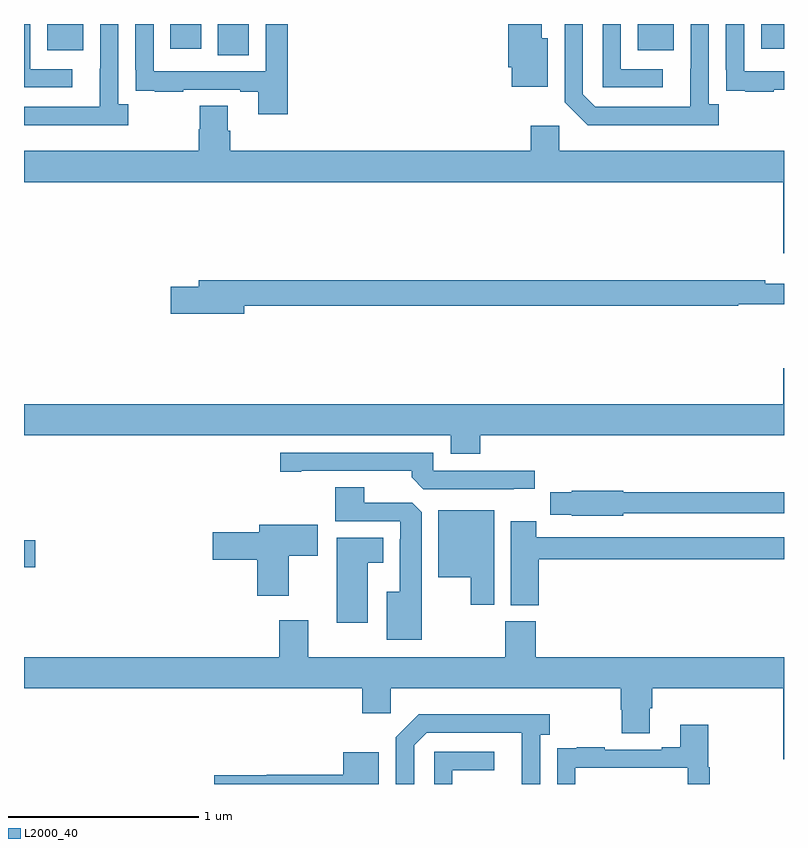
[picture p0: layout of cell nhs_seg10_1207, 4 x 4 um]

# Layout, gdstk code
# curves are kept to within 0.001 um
import gdstk
lib = gdstk.Library(unit=1e-6, precision=1e-09)
def R(c, l, rs):  # rectangles x0, y0, x1, y1
    for r in rs: c.add(gdstk.rectangle(r[:2], r[2:], *l))
def P(c, l, *ps):  # polygons
    for p in ps: c.add(gdstk.Polygon(p, *l))
L2000_40 = (2000, 40)

nhs_seg10_1207 = lib.new_cell('nhs_seg10_1207')
R(nhs_seg10_1207, L2000_40, [(173,1279.642,173.059,1279.784), (174.02,1282.336,174.184,1282.5), (173.123,1282.361,173.311,1282.5), (176.231,1282.361,176.419,1282.5), (173.771,1282.371,173.932,1282.5), (176.879,1282.371,177,1282.5)])
P(nhs_seg10_1207, L2000_40, [(173.548,1282.078),(173.496,1282.078),(173.496,1282.5),(173.4,1282.5),(173.4,1282.265),(173.399,1282.265),(173.399,1282.065),(173,1282.065),(173,1281.968),(173.548,1281.968)],
  [(176.362,1282.263),(176.142,1282.263),(176.142,1282.5),(176.046,1282.5),(176.046,1282.167),(176.362,1282.167)],
  [(176.945,1282.155),(177,1282.155),(177,1282.251),(176.79,1282.251),(176.79,1282.5),(176.694,1282.5),(176.694,1282.258),(176.695,1282.258),(176.695,1282.149),(176.797,1282.149),(176.797,1282.143),(176.945,1282.143)],
  [(176.656,1282.078),(176.604,1282.078),(176.604,1282.5),(176.508,1282.5),(176.507,1282.065),(176.007,1282.065),(175.941,1282.131),(175.941,1282.5),(175.845,1282.5),(175.845,1282.089),(175.966,1281.968),(176.656,1281.968)],
  [(174.389,1282.5),(174.273,1282.5),(174.273,1282.251),(173.682,1282.251),(173.682,1282.5),(173.586,1282.5),(173.586,1282.258),(173.587,1282.258),(173.587,1282.149),(173.689,1282.149),(173.689,1282.143),(173.837,1282.143),(173.837,1282.155),(174.137,1282.155),(174.137,1282.143),(174.233,1282.143),(174.233,1282.026),(174.389,1282.026)],
  [(173.254,1282.263),(173.034,1282.263),(173.034,1282.5),(173,1282.5),(173,1282.167),(173.254,1282.167)],
  [(175.756,1282.426),(175.726,1282.426),(175.726,1282.5),(175.549,1282.5),(175.549,1282.273),(175.568,1282.273),(175.568,1282.169),(175.756,1282.169)],
  [(177,1281.832),(175.818,1281.832),(175.818,1281.964),(175.667,1281.964),(175.667,1281.832),(174.086,1281.832),(174.086,1281.938),(174.073,1281.938),(174.073,1282.07),(173.926,1282.07),(173.926,1281.945),(173.921,1281.945),(173.921,1281.832),(173,1281.832),(173,1281.668),(176.996,1281.668),(176.996,1281.294),(177,1281.294)],
  [(174.16,1281.016),(176.758,1281.016),(176.758,1281.024),(177,1281.024),(177,1281.133),(176.9,1281.133),(176.9,1281.152),(173.921,1281.152),(173.921,1281.116),(173.772,1281.116),(173.772,1280.974),(174.16,1280.974)],
  [(175.4,1280.336),(177,1280.336),(177,1280.689),(176.996,1280.689),(176.996,1280.5),(173,1280.5),(173,1280.336),(175.247,1280.336),(175.247,1280.237),(175.4,1280.237)],
  [(175.577,1280.053),(175.688,1280.053),(175.688,1280.148),(175.155,1280.148),(175.155,1280.244),(174.348,1280.244),(174.348,1280.143),(174.46,1280.143),(174.46,1280.148),(175.04,1280.148),(175.04,1280.114),(175.101,1280.052),(175.577,1280.051)],
  [(175.093,1279.931),(175.044,1279.98),(174.79,1279.98),(174.79,1280.063),(174.638,1280.063),(174.638,1279.884),(174.981,1279.884),(174.981,1279.787),(174.977,1279.787),(174.977,1279.513),(174.908,1279.513),(174.908,1279.259),(175.093,1279.259)],
  [(176.154,1279.926),(177,1279.926),(177,1280.035),(176.154,1280.035),(176.154,1280.043),(175.882,1280.043),(175.882,1280.036),(175.771,1280.036),(175.771,1279.916),(175.882,1279.916),(175.882,1279.913),(176.154,1279.913)],
  [(175.474,1279.942),(175.181,1279.942),(175.181,1279.589),(175.352,1279.589),(175.352,1279.443),(175.474,1279.443)],
  [(175.709,1279.684),(177,1279.684),(177,1279.8),(175.697,1279.8),(175.697,1279.883),(175.562,1279.883),(175.562,1279.441),(175.709,1279.441)],
  [(174.394,1279.702),(174.547,1279.702),(174.547,1279.864),(174.239,1279.864),(174.239,1279.826),(173.994,1279.826),(173.994,1279.679),(174.227,1279.679),(174.227,1279.491),(174.394,1279.491)],
  [(174.808,1279.664),(174.892,1279.664),(174.892,1279.795),(174.647,1279.795),(174.647,1279.35),(174.808,1279.35)],
  [(177,1279.168),(175.694,1279.168),(175.694,1279.356),(175.534,1279.356),(175.534,1279.168),(174.496,1279.168),(174.496,1279.363),(174.344,1279.363),(174.344,1279.168),(173,1279.168),(173,1279.004),(174.779,1279.004),(174.779,1278.873),(174.93,1278.873),(174.93,1279.004),(176.141,1279.004),(176.141,1278.891),(176.146,1278.891),(176.146,1278.766),(176.293,1278.766),(176.293,1278.898),(176.306,1278.898),(176.306,1279.004),(176.996,1279.004),(176.996,1278.63),(177,1278.63)],
  [(175.053,1278.705),(175.119,1278.771),(175.619,1278.771),(175.62,1278.5),(175.716,1278.5),(175.716,1278.758),(175.768,1278.758),(175.768,1278.868),(175.078,1278.868),(174.957,1278.747),(174.957,1278.5),(175.053,1278.5)],
  [(175.902,1278.585),(176.493,1278.585),(176.493,1278.5),(176.609,1278.5),(176.609,1278.588),(176.602,1278.588),(176.602,1278.811),(176.453,1278.811),(176.453,1278.694),(176.357,1278.694),(176.357,1278.681),(176.057,1278.681),(176.057,1278.694),(175.909,1278.694),(175.909,1278.687),(175.807,1278.687),(175.807,1278.578),(175.806,1278.578),(175.806,1278.5),(175.902,1278.5)],
  [(175.254,1278.573),(175.474,1278.573),(175.474,1278.669),(175.158,1278.669),(175.158,1278.5),(175.254,1278.5)],
  [(174.868,1278.667),(174.68,1278.667),(174.68,1278.55),(174.278,1278.55),(174.278,1278.546),(174.002,1278.546),(174.002,1278.5),(174.868,1278.5)])

lib.write_gds('nhs_seg10_1207.gds')
